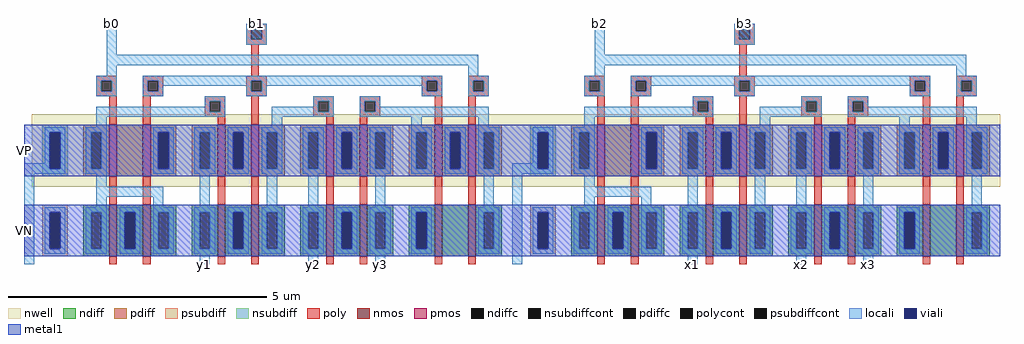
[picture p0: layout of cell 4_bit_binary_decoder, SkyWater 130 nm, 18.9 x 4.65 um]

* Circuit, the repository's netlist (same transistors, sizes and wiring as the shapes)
* SPICE3 file created from 4_bit_binary_decoder.ext - technology: sky130A

.subckt x2_bit_binary_decoder b0 b1 y1 y2 y3 VP VN
X0 VP a_n60_n10# y1 VP sky130_fd_pr__pfet_01v8 ad=0.25 pd=1.5 as=0.5 ps=3 w=1 l=0.15
X1 a_70_300# b0 a_n60_n10# VP sky130_fd_pr__pfet_01v8 ad=0.25 pd=1.5 as=0.5 ps=3 w=1 l=0.15
X2 y3 a_1010_n40# VN VN sky130_fd_pr__nfet_01v8 ad=0.5 pd=3 as=0.25 ps=1.5 w=1 l=0.15
X3 a_1330_n10# b1 VN VN sky130_fd_pr__nfet_01v8 ad=0.25 pd=1.5 as=0.5 ps=3 w=1 l=0.15
X4 VP a_620_n10# y2 VP sky130_fd_pr__pfet_01v8 ad=0.25 pd=1.5 as=0.5 ps=3 w=1 l=0.15
X5 a_1010_n40# b0 a_1330_n10# VN sky130_fd_pr__nfet_01v8 ad=0.5 pd=3 as=0.25 ps=1.5 w=1 l=0.15
X6 VN b0 a_n60_n10# VN sky130_fd_pr__nfet_01v8 ad=0.25 pd=1.5 as=0.5 ps=3 w=1 l=0.15
X7 a_n60_n10# b1 VN VN sky130_fd_pr__nfet_01v8 ad=0.5 pd=3 as=0.25 ps=1.5 w=1 l=0.15
X8 y3 a_1010_n40# VP VP sky130_fd_pr__pfet_01v8 ad=0.5 pd=3 as=0.25 ps=1.5 w=1 l=0.15
X9 VN a_n60_n10# y1 VN sky130_fd_pr__nfet_01v8 ad=0.25 pd=1.5 as=0.5 ps=3 w=1 l=0.15
X10 VP b1 a_70_300# VP sky130_fd_pr__pfet_01v8 ad=0.5 pd=3 as=0.25 ps=1.5 w=1 l=0.15
X11 a_1010_n40# b0 VP VP sky130_fd_pr__pfet_01v8 ad=0.5 pd=3 as=0.25 ps=1.5 w=1 l=0.15
X12 a_620_n10# b1 VN VN sky130_fd_pr__nfet_01v8 ad=0.5 pd=3 as=0.25 ps=1.5 w=1 l=0.15
X13 a_620_n10# b1 VP VP sky130_fd_pr__pfet_01v8 ad=0.5 pd=3 as=0.25 ps=1.5 w=1 l=0.15
X14 VP b1 a_1010_n40# VP sky130_fd_pr__pfet_01v8 ad=0.25 pd=1.5 as=0.5 ps=3 w=1 l=0.15
X15 VN a_620_n10# y2 VN sky130_fd_pr__nfet_01v8 ad=0.25 pd=1.5 as=0.5 ps=3 w=1 l=0.15
.ends

**.subckt x4_bit_binary_decoder b0 b1 b2 b3 y1 y2 y3 x1 x2 x3
X2_bit_binary_decoder_0 b0 b1 y1 y2 y3 2_bit_binary_decoder_1/VP VSUBS x2_bit_binary_decoder
X2_bit_binary_decoder_1 b2 b3 x1 x2 x3 2_bit_binary_decoder_1/VP VSUBS x2_bit_binary_decoder
**.ends

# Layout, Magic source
magic
tech sky130A
<< nwell >>
rect 945 150 1075 290
<< locali >>
rect 160 445 180 465
rect 430 425 470 465
rect 1105 445 1125 465
rect 1375 425 1415 465
rect 0 0 20 15
rect 340 0 360 20
rect 550 0 570 20
rect 680 0 700 20
rect 945 0 965 15
rect 1285 0 1305 20
rect 1495 0 1515 20
rect 1625 0 1645 20
use 2_bit_binary_decoder  2_bit_binary_decoder_0
transform 1 0 145 0 1 20
box -145 -20 800 445
use 2_bit_binary_decoder  2_bit_binary_decoder_1
transform 1 0 1090 0 1 20
box -145 -20 800 445
<< labels >>
flabel locali 170 465 170 465 1 FreeSans 240 0 0 0 b0
port 1 n
flabel locali 450 465 450 465 1 FreeSans 240 0 0 0 b1
port 2 n
flabel locali 1115 465 1115 465 1 FreeSans 240 0 0 0 b2
port 3 n
flabel locali 1395 465 1395 465 1 FreeSans 240 0 0 0 b3
port 4 n
flabel locali 350 0 350 0 5 FreeSans 240 0 0 0 y1
port 5 s
flabel locali 560 0 560 0 5 FreeSans 240 0 0 0 y2
port 6 s
flabel locali 690 0 690 0 5 FreeSans 240 0 0 0 y3
port 7 s
flabel locali 1295 0 1295 0 5 FreeSans 240 0 0 0 x1
port 8 s
flabel locali 1505 0 1505 0 5 FreeSans 240 0 0 0 x2
port 9 s
flabel locali 1635 0 1635 0 5 FreeSans 240 0 0 0 x3
port 10 s
flabel space 0 220 0 220 7 FreeSans 240 0 0 0 VP
port 11 w
flabel space 0 65 0 65 7 FreeSans 240 0 0 0 VN
port 12 w
<< end >>

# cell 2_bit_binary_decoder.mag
magic
tech sky130A
<< nwell >>
rect -130 130 800 270
<< nmos >>
rect 20 -5 35 95
rect 85 -5 100 95
rect 230 -5 245 95
rect 295 -5 310 95
rect 440 -5 455 95
rect 505 -5 520 95
rect 650 -5 665 95
rect 715 -5 730 95
<< pmos >>
rect 20 150 35 250
rect 85 150 100 250
rect 230 150 245 250
rect 295 150 310 250
rect 440 150 455 250
rect 505 150 520 250
rect 650 150 665 250
rect 715 150 730 250
<< ndiff >>
rect -30 80 20 95
rect -30 10 -15 80
rect 5 10 20 80
rect -30 -5 20 10
rect 35 80 85 95
rect 35 10 50 80
rect 70 10 85 80
rect 35 -5 85 10
rect 100 80 150 95
rect 100 10 115 80
rect 135 10 150 80
rect 100 -5 150 10
rect 180 80 230 95
rect 180 10 195 80
rect 215 10 230 80
rect 180 -5 230 10
rect 245 80 295 95
rect 245 10 260 80
rect 280 10 295 80
rect 245 -5 295 10
rect 310 80 360 95
rect 310 10 325 80
rect 345 10 360 80
rect 310 -5 360 10
rect 390 80 440 95
rect 390 10 405 80
rect 425 10 440 80
rect 390 -5 440 10
rect 455 80 505 95
rect 455 10 470 80
rect 490 10 505 80
rect 455 -5 505 10
rect 520 80 570 95
rect 520 10 535 80
rect 555 10 570 80
rect 520 -5 570 10
rect 600 80 650 95
rect 600 10 615 80
rect 635 10 650 80
rect 600 -5 650 10
rect 665 -5 715 95
rect 730 80 780 95
rect 730 10 745 80
rect 765 10 780 80
rect 730 -5 780 10
<< pdiff >>
rect -30 235 20 250
rect -30 165 -15 235
rect 5 165 20 235
rect -30 150 20 165
rect 35 150 85 250
rect 100 235 150 250
rect 100 165 115 235
rect 135 165 150 235
rect 100 150 150 165
rect 180 235 230 250
rect 180 165 195 235
rect 215 165 230 235
rect 180 150 230 165
rect 245 235 295 250
rect 245 165 260 235
rect 280 165 295 235
rect 245 150 295 165
rect 310 235 360 250
rect 310 165 325 235
rect 345 165 360 235
rect 310 150 360 165
rect 390 235 440 250
rect 390 165 405 235
rect 425 165 440 235
rect 390 150 440 165
rect 455 235 505 250
rect 455 165 470 235
rect 490 165 505 235
rect 455 150 505 165
rect 520 235 570 250
rect 520 165 535 235
rect 555 165 570 235
rect 520 150 570 165
rect 600 235 650 250
rect 600 165 615 235
rect 635 165 650 235
rect 600 150 650 165
rect 665 235 715 250
rect 665 165 680 235
rect 700 165 715 235
rect 665 150 715 165
rect 730 235 780 250
rect 730 165 745 235
rect 765 165 780 235
rect 730 150 780 165
<< ndiffc >>
rect -15 10 5 80
rect 50 10 70 80
rect 115 10 135 80
rect 195 10 215 80
rect 260 10 280 80
rect 325 10 345 80
rect 405 10 425 80
rect 470 10 490 80
rect 535 10 555 80
rect 615 10 635 80
rect 745 10 765 80
<< pdiffc >>
rect -15 165 5 235
rect 115 165 135 235
rect 195 165 215 235
rect 260 165 280 235
rect 325 165 345 235
rect 405 165 425 235
rect 470 165 490 235
rect 535 165 555 235
rect 615 165 635 235
rect 680 165 700 235
rect 745 165 765 235
<< psubdiff >>
rect -110 80 -60 95
rect -110 10 -95 80
rect -75 10 -60 80
rect -110 -5 -60 10
<< nsubdiff >>
rect -110 235 -60 250
rect -110 165 -95 235
rect -75 165 -60 235
rect -110 150 -60 165
<< psubdiffcont >>
rect -95 10 -75 80
<< nsubdiffcont >>
rect -95 165 -75 235
<< poly >>
rect 285 435 325 445
rect 285 415 295 435
rect 315 415 325 435
rect 285 405 325 415
rect 295 345 310 405
rect -5 335 35 345
rect -5 315 5 335
rect 25 315 35 335
rect -5 305 35 315
rect 20 250 35 305
rect 85 335 125 345
rect 85 315 95 335
rect 115 315 125 335
rect 85 305 125 315
rect 285 335 325 345
rect 285 315 295 335
rect 315 315 325 335
rect 285 305 325 315
rect 625 335 665 345
rect 625 315 635 335
rect 655 315 665 335
rect 625 305 665 315
rect 85 250 100 305
rect 205 295 245 305
rect 205 275 215 295
rect 235 275 245 295
rect 205 265 245 275
rect 230 250 245 265
rect 295 250 310 305
rect 415 295 455 305
rect 415 275 425 295
rect 445 275 455 295
rect 415 265 455 275
rect 440 250 455 265
rect 505 295 545 305
rect 505 275 515 295
rect 535 275 545 295
rect 505 265 545 275
rect 505 250 520 265
rect 650 250 665 305
rect 715 335 755 345
rect 715 315 725 335
rect 745 315 755 335
rect 715 305 755 315
rect 715 250 730 305
rect 20 95 35 150
rect 85 95 100 150
rect 230 95 245 150
rect 295 95 310 150
rect 440 95 455 150
rect 505 95 520 150
rect 650 95 665 150
rect 715 95 730 150
rect 20 -20 35 -5
rect 85 -20 100 -5
rect 230 -20 245 -5
rect 295 -20 310 -5
rect 440 -20 455 -5
rect 505 -20 520 -5
rect 650 -20 665 -5
rect 715 -20 730 -5
<< polycont >>
rect 295 415 315 435
rect 5 315 25 335
rect 95 315 115 335
rect 295 315 315 335
rect 635 315 655 335
rect 215 275 235 295
rect 425 275 445 295
rect 515 275 535 295
rect 725 315 745 335
<< locali >>
rect 15 385 35 445
rect 285 435 325 445
rect 285 415 295 435
rect 315 415 325 435
rect 285 405 325 415
rect 15 365 735 385
rect 15 345 35 365
rect 715 345 735 365
rect -5 335 35 345
rect -5 315 5 335
rect 25 315 35 335
rect -5 305 35 315
rect 85 335 665 345
rect 85 315 95 335
rect 115 325 295 335
rect 115 315 125 325
rect 85 305 125 315
rect 285 315 295 325
rect 315 325 635 335
rect 315 315 325 325
rect 285 305 325 315
rect 625 315 635 325
rect 655 315 665 335
rect 625 305 665 315
rect 715 335 755 345
rect 715 315 725 335
rect 745 315 755 335
rect 715 305 755 315
rect 205 295 245 305
rect 205 285 215 295
rect -5 275 215 285
rect 235 275 245 295
rect 415 295 455 305
rect 415 285 425 295
rect -5 265 245 275
rect 335 275 425 285
rect 445 275 455 295
rect 335 265 455 275
rect 505 295 545 305
rect 505 275 515 295
rect 535 285 545 295
rect 535 275 755 285
rect 505 265 755 275
rect -5 245 15 265
rect 335 245 355 265
rect 605 245 625 265
rect 735 245 755 265
rect -105 235 -65 245
rect -105 175 -95 235
rect -145 165 -95 175
rect -75 165 -65 235
rect -145 155 -65 165
rect -25 235 15 245
rect -25 165 -15 235
rect 5 165 15 235
rect -25 155 15 165
rect 105 235 145 245
rect 105 165 115 235
rect 135 165 145 235
rect 105 155 145 165
rect 185 235 225 245
rect 185 165 195 235
rect 215 165 225 235
rect 185 155 225 165
rect 250 235 290 245
rect 250 165 260 235
rect 280 165 290 235
rect 250 155 290 165
rect 315 235 355 245
rect 315 165 325 235
rect 345 165 355 235
rect 315 155 355 165
rect 395 235 435 245
rect 395 165 405 235
rect 425 165 435 235
rect 395 155 435 165
rect 460 235 500 245
rect 460 165 470 235
rect 490 165 500 235
rect 460 155 500 165
rect 525 235 565 245
rect 525 165 535 235
rect 555 165 565 235
rect 525 155 565 165
rect 605 235 645 245
rect 605 165 615 235
rect 635 165 645 235
rect 605 155 645 165
rect 670 235 710 245
rect 670 165 680 235
rect 700 165 710 235
rect 670 155 710 165
rect 735 235 775 245
rect 735 165 745 235
rect 765 165 775 235
rect 735 155 775 165
rect -145 -20 -125 155
rect -5 130 15 155
rect -5 110 125 130
rect -5 90 15 110
rect 105 90 125 110
rect 195 90 215 155
rect 325 90 345 155
rect 405 90 425 155
rect 535 90 555 155
rect 745 90 765 155
rect -105 80 -65 90
rect -105 10 -95 80
rect -75 10 -65 80
rect -105 0 -65 10
rect -25 80 15 90
rect -25 10 -15 80
rect 5 10 15 80
rect -25 0 15 10
rect 40 80 80 90
rect 40 10 50 80
rect 70 10 80 80
rect 40 0 80 10
rect 105 80 145 90
rect 105 10 115 80
rect 135 10 145 80
rect 105 0 145 10
rect 185 80 225 90
rect 185 10 195 80
rect 215 10 225 80
rect 185 0 225 10
rect 250 80 290 90
rect 250 10 260 80
rect 280 10 290 80
rect 250 0 290 10
rect 315 80 355 90
rect 315 10 325 80
rect 345 10 355 80
rect 315 0 355 10
rect 395 80 435 90
rect 395 10 405 80
rect 425 10 435 80
rect 395 0 435 10
rect 460 80 500 90
rect 460 10 470 80
rect 490 10 500 80
rect 460 0 500 10
rect 525 80 565 90
rect 525 10 535 80
rect 555 10 565 80
rect 525 0 565 10
rect 605 80 645 90
rect 605 10 615 80
rect 635 10 645 80
rect 605 0 645 10
rect 735 80 775 90
rect 735 10 745 80
rect 765 10 775 80
rect 735 0 775 10
rect 195 -20 215 0
rect 405 -20 425 0
rect 535 -20 555 0
<< viali >>
rect -95 165 -75 235
rect 115 165 135 235
rect 260 165 280 235
rect 470 165 490 235
rect 680 165 700 235
rect -95 10 -75 80
rect 50 10 70 80
rect 260 10 280 80
rect 470 10 490 80
rect 615 10 635 80
<< metal1 >>
rect -145 235 800 250
rect -145 165 -95 235
rect -75 165 115 235
rect 135 165 260 235
rect 280 165 470 235
rect 490 165 680 235
rect 700 165 800 235
rect -145 150 800 165
rect -145 80 800 95
rect -145 10 -95 80
rect -75 10 50 80
rect 70 10 260 80
rect 280 10 470 80
rect 490 10 615 80
rect 635 10 800 80
rect -145 -5 800 10
<< labels >>
flabel locali 25 445 25 445 1 FreeSans 160 0 0 0 b0
port 1 n
flabel locali 305 445 305 445 1 FreeSans 160 0 0 0 b1
port 2 n
flabel locali 205 -20 205 -20 5 FreeSans 160 0 0 0 y1
port 4 s
flabel locali 415 -20 415 -20 5 FreeSans 160 0 0 0 y2
port 5 s
flabel locali 545 -20 545 -20 5 FreeSans 160 0 0 0 y3
port 6 s
flabel metal1 -145 200 -145 200 7 FreeSans 160 0 0 0 VP
port 7 w
flabel metal1 -145 45 -145 45 7 FreeSans 160 0 0 0 VN
port 8 w
<< end >>
